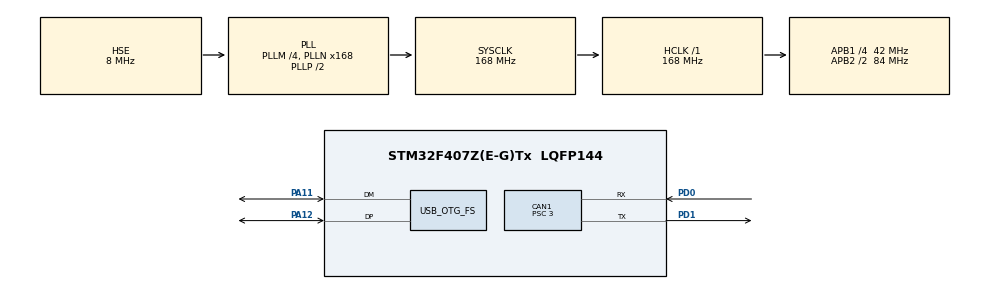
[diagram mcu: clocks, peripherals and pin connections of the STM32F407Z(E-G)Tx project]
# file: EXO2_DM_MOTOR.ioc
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CAN1.BS1=CAN_BS1_11TQ
CAN1.BS2=CAN_BS2_2TQ
CAN1.CalculateBaudRate=1000000
CAN1.CalculateTimeBit=1000
CAN1.CalculateTimeQuantum=71.42857142857143
CAN1.NART=ENABLE
CAN1.Prescaler=3
Mcu.Family=STM32F4
Mcu.Name=STM32F407Z(E-G)Tx
Mcu.Package=LQFP144
NVIC.CAN1_RX0_IRQn=true\:0\:0\:false\:false\:true\:true\:true\:true
NVIC.OTG_FS_IRQn=true\:0\:0\:false\:false\:true\:false\:true\:true
NVIC.PriorityGroup=NVIC_PRIORITYGROUP_4
PA11.Mode=Device_Only
PA11.Signal=USB_OTG_FS_DM
PA12.Mode=Device_Only
PA12.Signal=USB_OTG_FS_DP
PA13.Mode=Serial_Wire
PA13.Signal=SYS_JTMS-SWDIO
PA14.Mode=Serial_Wire
PA14.Signal=SYS_JTCK-SWCLK
PD0.Mode=CAN_Activate
PD0.Signal=CAN1_RX
PD1.Mode=CAN_Activate
PD1.Signal=CAN1_TX
PH0-OSC_IN.Mode=HSE-External-Oscillator
PH0-OSC_IN.Signal=RCC_OSC_IN
PH1-OSC_OUT.Mode=HSE-External-Oscillator
PH1-OSC_OUT.Signal=RCC_OSC_OUT
ProjectManager.HeapSize=0x200
ProjectManager.StackSize=0x400
ProjectManager.TargetToolchain=MDK-ARM V5.32
RCC.48MHZClocksFreq_Value=48000000
RCC.AHBFreq_Value=168000000
RCC.APB1CLKDivider=RCC_HCLK_DIV4
RCC.APB1Freq_Value=42000000
RCC.APB1TimFreq_Value=84000000
RCC.APB2CLKDivider=RCC_HCLK_DIV2
RCC.APB2Freq_Value=84000000
RCC.APB2TimFreq_Value=168000000
RCC.CortexFreq_Value=168000000
RCC.HCLKFreq_Value=168000000
RCC.HSE_VALUE=8000000
RCC.HSI_VALUE=16000000
RCC.LSE_VALUE=32768
RCC.PLLM=4
RCC.PLLN=168
RCC.PLLQ=7
RCC.SYSCLKFreq_VALUE=168000000
RCC.SYSCLKSource=RCC_SYSCLKSOURCE_PLLCLK
RCC.VCOOutputFreq_Value=336000000
USB_DEVICE.CLASS_NAME_FS=CDC
USB_DEVICE.VirtualMode-CDC_FS=Cdc
USB_DEVICE.VirtualModeFS=Cdc_FS
USB_OTG_FS.VirtualMode=Device_Only
VP_USB_DEVICE_VS_USB_DEVICE_CDC_FS.Mode=CDC_FS
board=custom

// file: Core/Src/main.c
/* USER CODE BEGIN Header */
/**
  ******************************************************************************
  * @file           : main.c
  * @brief          : Main program body
  ******************************************************************************
  * @attention
  *
  * Copyright (c) 2026 STMicroelectronics.
  * All rights reserved.
  *
  * This software is licensed under terms that can be found in the LICENSE file
  * in the root directory of this software component.
  * If no LICENSE file comes with this software, it is provided AS-IS.
  *
  ******************************************************************************
  */
/* USER CODE END Header */
#include "main.h"
#include "can.h"
#include "usb_device.h"
#include "gpio.h"

/* USER CODE BEGIN Includes */
#include "dm_d4340p.h"
#include "usb_motor_comm.h"
/* USER CODE END Includes */

/* USER CODE BEGIN PV */
USB_MotorCommand_t motor_command;
uint8_t motor_enabled[DM_D4340P_MOTOR_COUNT];
uint8_t usb_command_received;
uint32_t last_usb_command_tick;
//float torque=0;
/* USER CODE END PV */

void SystemClock_Config(void);

int main(void)
{

  /* USER CODE BEGIN 1 */
  CAN_FilterTypeDef can_filter;
  /* USER CODE END 1 */

  /* MCU Configuration--------------------------------------------------------*/

  /* Reset of all peripherals, Initializes the Flash interface and the Systick. */
  HAL_Init();

  /* Configure the system clock */
  SystemClock_Config();

  /* Initialize all configured peripherals */
  MX_GPIO_Init();
  MX_CAN1_Init();
  MX_USB_DEVICE_Init();
  /* USER CODE BEGIN 2 */
  /* D4340P motor IDs on CAN1. */
  d4340p_motors[0].motor_id = 1U;
  d4340p_motors[1].motor_id = 2U;
  d4340p_motors[2].motor_id = 3U;
  d4340p_motors[3].motor_id = 4U;

  /* Receive all standard CAN frames in FIFO0. */
  can_filter.FilterBank = 0U;
  can_filter.FilterMode = CAN_FILTERMODE_IDMASK;
  can_filter.FilterScale = CAN_FILTERSCALE_32BIT;
  can_filter.FilterIdHigh = 0U;
  can_filter.FilterIdLow = 0U;
  can_filter.FilterMaskIdHigh = 0U;
  can_filter.FilterMaskIdLow = 0U;
  can_filter.FilterFIFOAssignment = CAN_RX_FIFO0;
  can_filter.FilterActivation = ENABLE;
  can_filter.SlaveStartFilterBank = 14U;

  if (HAL_CAN_ConfigFilter(&hcan1, &can_filter) != HAL_OK)
  {
    Error_Handler();
  }

  if (HAL_CAN_Start(&hcan1) != HAL_OK)
  {
    Error_Handler();
  }

  if (HAL_CAN_ActivateNotification(
        &hcan1, CAN_IT_RX_FIFO0_MSG_PENDING) != HAL_OK)
  {
    Error_Handler();
  }

  if (DM_D4340P_Init(&hcan1) != HAL_OK)
  {
    Error_Handler();
  }
//	DM_D4340P_Enable(&d4340p_motors[0]);
  /* USER CODE END 2 */

  /* Infinite loop */
  /* USER CODE BEGIN WHILE */
  while (1)
  {
//		DM_D4340P_MitControl(&d4340p_motors[0],0,0,0,0,torque);
//		HAL_Delay(1);
    uint8_t index;

    if (USB_MotorComm_GetCommand(&motor_command) != 0U)
    {
      usb_command_received = 1U;
      last_usb_command_tick = HAL_GetTick();

      for (index = 0U; index < DM_D4340P_MOTOR_COUNT; ++index)
      {
        if ((motor_command.motor[index].flags &
             USB_MOTOR_FLAG_CLEAR_ERROR) != 0U)
        {
          (void)DM_D4340P_ClearError(&d4340p_motors[index]);
          HAL_Delay(1U);
        }

        if ((motor_command.motor[index].flags &
             USB_MOTOR_FLAG_SET_ZERO) != 0U)
        {
          (void)DM_D4340P_SetZero(&d4340p_motors[index]);
          HAL_Delay(1U);
        }

        if (((motor_command.motor[index].flags &
              USB_MOTOR_FLAG_ENABLE) != 0U) &&
            (motor_enabled[index] == 0U))
        {
          if (DM_D4340P_Enable(&d4340p_motors[index]) == HAL_OK)
          {
            motor_enabled[index] = 1U;
          }
          HAL_Delay(1U);
        }
        else if (((motor_command.motor[index].flags &
                   USB_MOTOR_FLAG_ENABLE) == 0U) &&
                 (motor_enabled[index] != 0U))
        {
          if (DM_D4340P_Disable(&d4340p_motors[index]) == HAL_OK)
          {
            motor_enabled[index] = 0U;
          }
          HAL_Delay(1U);
        }
      }
    }

    if ((usb_command_received != 0U) &&
        ((HAL_GetTick() - last_usb_command_tick) > 100U))
    {
      for (index = 0U; index < DM_D4340P_MOTOR_COUNT; index++)
      {
        if (motor_enabled[index] != 0U)
        {
          (void)DM_D4340P_Disable(&d4340p_motors[index]);
          motor_enabled[index] = 0U;
          HAL_Delay(1U);
        }
      }
      usb_command_received = 0U;
    }

    for (index = 0U; index < DM_D4340P_MOTOR_COUNT; ++index)
    {
      if (motor_enabled[index] != 0U)
      {
        (void)DM_D4340P_MitControl(
          &d4340p_motors[index],
          motor_command.motor[index].position,
          motor_command.motor[index].velocity,
          motor_command.motor[index].kp,
          motor_command.motor[index].kd,
          motor_command.motor[index].torque);
      }
    }
		HAL_Delay(3U);
    /*
     * Disable normal binary feedback during the temporary ROS USB loopback
     * test. Restore the line below after the test.
     */
    (void)USB_MotorComm_SendFeedback();
    /* USER CODE END WHILE */

  }
}

void SystemClock_Config(void)
{
  RCC_OscInitTypeDef RCC_OscInitStruct = {0};
  RCC_ClkInitTypeDef RCC_ClkInitStruct = {0};

  /** Configure the main internal regulator output voltage
  */
  __HAL_RCC_PWR_CLK_ENABLE();
  __HAL_PWR_VOLTAGESCALING_CONFIG(PWR_REGULATOR_VOLTAGE_SCALE1);

  /** Initializes the RCC Oscillators according to the specified parameters
  * in the RCC_OscInitTypeDef structure.
  */
  RCC_OscInitStruct.OscillatorType = RCC_OSCILLATORTYPE_HSE;
  RCC_OscInitStruct.HSEState = RCC_HSE_ON;
  RCC_OscInitStruct.PLL.PLLState = RCC_PLL_ON;
  RCC_OscInitStruct.PLL.PLLSource = RCC_PLLSOURCE_HSE;
  RCC_OscInitStruct.PLL.PLLM = 4;
  RCC_OscInitStruct.PLL.PLLN = 168;
  RCC_OscInitStruct.PLL.PLLP = RCC_PLLP_DIV2;
  RCC_OscInitStruct.PLL.PLLQ = 7;
  if (HAL_RCC_OscConfig(&RCC_OscInitStruct) != HAL_OK)
  {
    Error_Handler();
  }

  /** Initializes the CPU, AHB and APB buses clocks
  */
  RCC_ClkInitStruct.ClockType = RCC_CLOCKTYPE_HCLK|RCC_CLOCKTYPE_SYSCLK
                              |RCC_CLOCKTYPE_PCLK1|RCC_CLOCKTYPE_PCLK2;
  RCC_ClkInitStruct.SYSCLKSource = RCC_SYSCLKSOURCE_PLLCLK;
  RCC_ClkInitStruct.AHBCLKDivider = RCC_SYSCLK_DIV1;
  RCC_ClkInitStruct.APB1CLKDivider = RCC_HCLK_DIV4;
  RCC_ClkInitStruct.APB2CLKDivider = RCC_HCLK_DIV2;

  if (HAL_RCC_ClockConfig(&RCC_ClkInitStruct, FLASH_LATENCY_5) != HAL_OK)
  {
    Error_Handler();
  }
}

void Error_Handler(void)
{
  __disable_irq();
  while (1)
  {
  }
}
